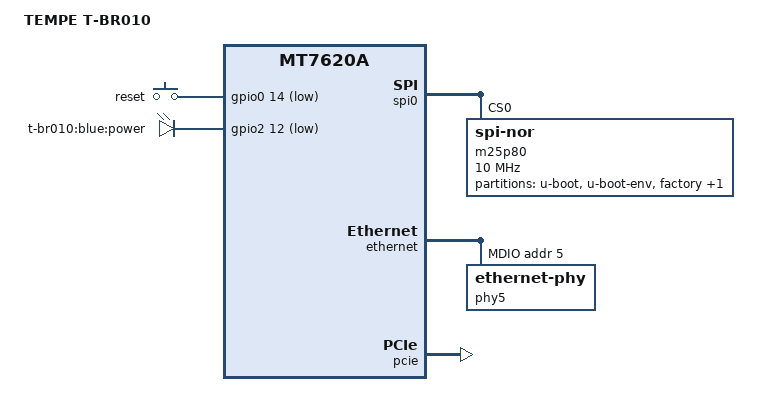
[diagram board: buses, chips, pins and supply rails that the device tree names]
/dts-v1/;

#include "mt7620a.dtsi"

#include <dt-bindings/gpio/gpio.h>
#include <dt-bindings/input/input.h>

/ {
	compatible = "tempe,t-br010", "ralink,mt7620a-soc";
	model = "TEMPE T-BR010";

	aliases {
		led-status = &led_power;
	};

	gpio-keys-polled {
		compatible = "gpio-keys-polled";
		#address-cells = <1>;
		#size-cells = <0>;
		poll-interval = <20>;

		reset {
			label = "reset";
			gpios = <&gpio0 14 GPIO_ACTIVE_LOW>;
			linux,code = <KEY_RESTART>;
		};
	};

	gpio-leds {
		compatible = "gpio-leds";

		led_power: power {
			label = "t-br010:blue:power";
			gpios = <&gpio2 12 GPIO_ACTIVE_LOW>; // GPIO2:40+12=GPIO 52
		};
	};
};

&gpio0 {
	status = "okay";
};

&gpio2 {
	status = "okay";
};

&spi0 {
	status = "okay";

	m25p80@0 {
		#address-cells = <1>;
		#size-cells = <1>;
		compatible = "jedec,spi-nor";
		reg = <0>;
		spi-max-frequency = <10000000>;

		partition@0 {
			label = "u-boot";
			reg = <0x0 0x30000>;
			read-only;
		};

		partition@20000 {
			label = "u-boot-env";
			reg = <0x30000 0x10000>;
			read-only;
		};

		factory: partition@30000 {
			label = "factory";
			reg = <0x40000 0x10000>;
			read-only;
		};

		partition@40000 {
			label = "firmware";
			reg = <0x50000 0x7b0000>;
		};
	};
};

&pinctrl {
	state_default: pinctrl0 {
		gpio {
			ralink,group = "i2c", "uartf", "rgmii2", "wled", "nd_sd";
			ralink,function = "gpio";
		};
	};
};

&ethernet {
	status = "okay";
	pinctrl-names = "default";
	mtd-mac-address = <&factory 0x4>;
	pinctrl-0 = <&ephy_pins &rgmii1_pins &mdio_pins>;
	mediatek,portmap = "llllw";

	port@5 {
		status = "okay";
		phy-handle = <&phy5>;
		phy-mode = "rgmii";
	};

	mdio-bus {
		status = "okay";
		reset-gpio = <&gpio0 10 GPIO_ACTIVE_LOW>;

		phy5: ethernet-phy@5 {
			reg = <5>;
			phy-mode = "rgmii";
		};
	};
};

&pcie {
	status = "okay";

	pcie-bridge {
		mt76@0,0 {
			reg = <0x0000 0 0 0 0>;
			device_type = "pci";
			mediatek,mtd-eeprom = <&factory 0x8000>;
			ieee80211-freq-limit = <5000000 6000000>;
		};
	};
};

&wmac {
	status = "disabled";
	ralink,mtd-eeprom = <&factory 0>;
};
